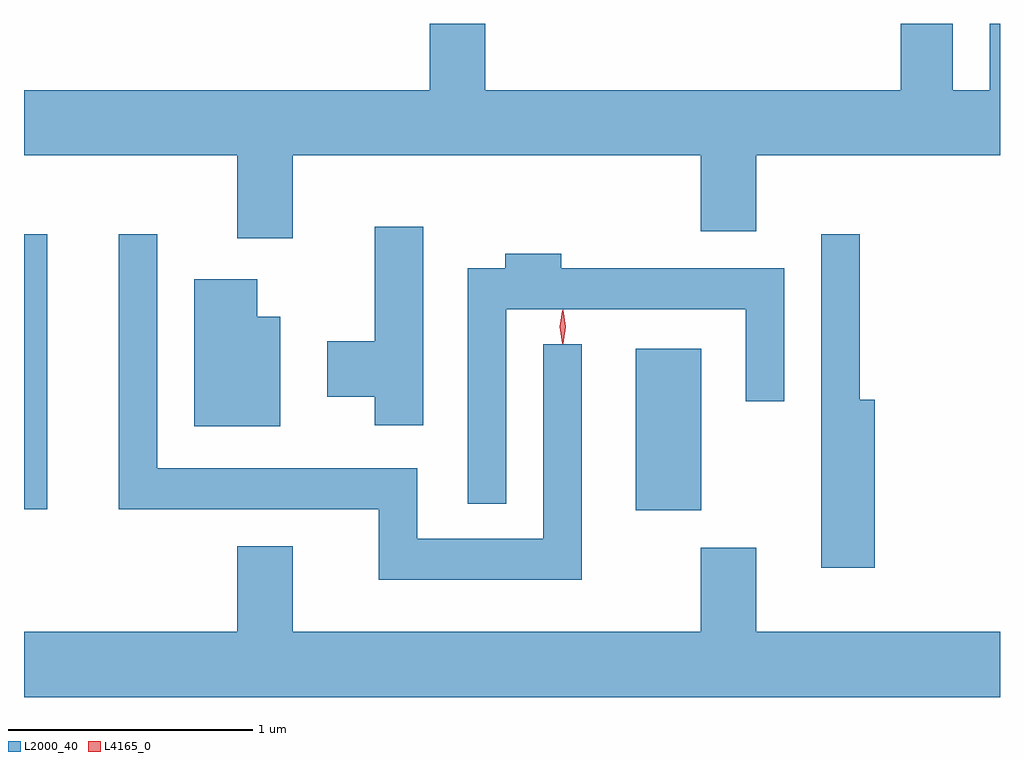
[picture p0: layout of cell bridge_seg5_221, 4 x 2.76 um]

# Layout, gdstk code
import gdstk
lib = gdstk.Library(unit=1e-6, precision=1e-09)
def R(c, l, rs):  # rectangles x0, y0, x1, y1
    for r in rs: c.add(gdstk.rectangle(r[:2], r[2:], *l))
def P(c, l, *ps):  # polygons
    for p in ps: c.add(gdstk.Polygon(p, *l))
L2000_40 = (2000, 40)
L4165_0 = (4165, 0)

bridge_seg5_221 = lib.new_cell('bridge_seg5_221')
R(bridge_seg5_221, L2000_40, [(1343.756,1426.481,1344.024,1427.144), (1341.248,1426.486,1341.344,1427.613)])
P(bridge_seg5_221, L2000_40, [(1342.349,1427.936),(1344.021,1427.936),(1344.021,1427.626),(1344.249,1427.626),(1344.249,1427.936),(1345.248,1427.936),(1345.248,1428.475),(1345.206,1428.475),(1345.206,1428.204),(1345.054,1428.204),(1345.054,1428.475),(1344.841,1428.475),(1344.841,1428.204),(1343.139,1428.204),(1343.139,1428.475),(1342.911,1428.475),(1342.911,1428.204),(1341.248,1428.204),(1341.248,1427.936),(1342.121,1427.936),(1342.121,1427.596),(1342.349,1427.596)],
  [(1342.884,1427.644),(1342.686,1427.644),(1342.686,1427.174),(1342.491,1427.174),(1342.491,1426.946),(1342.686,1426.946),(1342.686,1426.831),(1342.884,1426.831)],
  [(1343.534,1427.163),(1343.376,1427.163),(1343.376,1426.364),(1342.859,1426.364),(1342.859,1426.654),(1341.794,1426.654),(1341.794,1427.613),(1341.636,1427.613),(1341.636,1426.486),(1342.701,1426.486),(1342.701,1426.196),(1343.534,1426.196)],
  [(1344.734,1426.934),(1344.674,1426.934),(1344.674,1427.613),(1344.516,1427.613),(1344.516,1426.246),(1344.734,1426.246)],
  [(1343.224,1427.306),(1344.206,1427.306),(1344.206,1426.928),(1344.364,1426.928),(1344.364,1427.474),(1343.449,1427.474),(1343.449,1427.534),(1343.221,1427.534),(1343.221,1427.474),(1343.066,1427.474),(1343.066,1426.508),(1343.224,1426.508)],
  [(1342.299,1427.274),(1342.204,1427.274),(1342.204,1427.429),(1341.946,1427.429),(1341.946,1426.826),(1342.299,1426.826)],
  [(1345.248,1425.984),(1344.249,1425.984),(1344.249,1426.329),(1344.021,1426.329),(1344.021,1425.984),(1342.349,1425.984),(1342.349,1426.334),(1342.121,1426.334),(1342.121,1425.984),(1341.248,1425.984),(1341.248,1425.716),(1345.248,1425.716)])
P(bridge_seg5_221, L4165_0, [(1343.457,1427.164),(1343.448,1427.233),(1343.457,1427.302),(1343.458,1427.303),(1343.458,1427.302),(1343.468,1427.233),(1343.458,1427.164),(1343.458,1427.164)],
  [(1343.454,1427.167),(1343.454,1427.167),(1343.444,1427.234),(1343.454,1427.3),(1343.454,1427.3),(1343.454,1427.3),(1343.464,1427.234),(1343.455,1427.167)])

lib.write_gds('bridge_seg5_221.gds')
